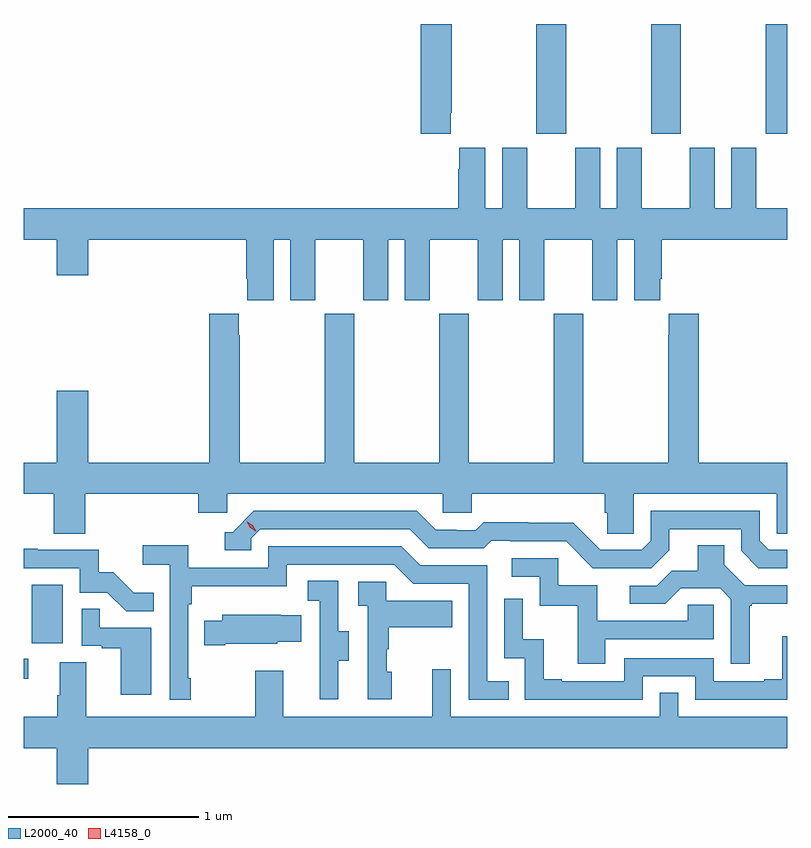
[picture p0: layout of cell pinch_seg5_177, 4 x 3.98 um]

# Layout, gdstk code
import gdstk
lib = gdstk.Library(unit=1e-6, precision=1e-09)
def R(c, l, rs):  # rectangles x0, y0, x1, y1
    for r in rs: c.add(gdstk.rectangle(r[:2], r[2:], *l))
def P(c, l, *ps):  # polygons
    for p in ps: c.add(gdstk.Polygon(p, *l))
L2000_40 = (2000, 40)
L4158_0 = (4158, 0)

pinch_seg5_177 = lib.new_cell('pinch_seg5_177')
R(pinch_seg5_177, L2000_40, [(1141.857,875.772,1141.882,875.877), (1141.898,875.958,1142.062,876.265), (1144.543,878.625,1144.698,879.201), (1145.143,878.625,1145.298,879.201), (1145.743,878.625,1145.857,879.201)])
P(pinch_seg5_177, L2000_40, [(1144.093,878.737),(1144.098,878.737),(1144.098,879.201),(1143.938,879.201),(1143.938,878.625),(1144.093,878.625)],
  [(1143.166,878.072),(1143.254,878.072),(1143.254,877.755),(1143.385,877.755),(1143.385,878.072),(1143.635,878.072),(1143.635,877.755),(1143.766,877.755),(1143.766,878.072),(1143.854,878.072),(1143.854,877.755),(1143.985,877.755),(1143.985,878.072),(1144.235,878.072),(1144.235,877.755),(1144.366,877.755),(1144.366,878.072),(1144.454,878.072),(1144.454,877.755),(1144.585,877.755),(1144.585,878.072),(1144.835,878.072),(1144.835,877.755),(1144.966,877.755),(1144.966,878.072),(1145.054,878.072),(1145.054,877.755),(1145.191,877.755),(1145.191,877.867),(1145.198,877.867),(1145.198,878.072),(1145.857,878.072),(1145.857,878.236),(1145.695,878.236),(1145.695,878.554),(1145.564,878.554),(1145.564,878.236),(1145.476,878.236),(1145.476,878.554),(1145.345,878.554),(1145.345,878.236),(1145.095,878.236),(1145.095,878.554),(1144.964,878.554),(1144.964,878.236),(1144.876,878.236),(1144.876,878.554),(1144.745,878.554),(1144.745,878.236),(1144.495,878.236),(1144.495,878.554),(1144.364,878.554),(1144.364,878.236),(1144.276,878.236),(1144.276,878.554),(1144.139,878.554),(1144.139,878.441),(1144.133,878.441),(1144.133,878.236),(1141.857,878.236),(1141.857,878.072),(1142.03,878.072),(1142.03,877.884),(1142.194,877.884),(1142.194,878.072),(1143.023,878.072),(1143.023,877.867),(1143.029,877.867),(1143.029,877.755),(1143.166,877.755)],
  [(1142.18,876.74),(1142.771,876.74),(1142.771,876.642),(1142.922,876.642),(1142.922,876.74),(1144.053,876.74),(1144.053,876.642),(1144.203,876.642),(1144.203,876.74),(1144.901,876.74),(1144.901,876.642),(1144.915,876.642),(1144.915,876.532),(1145.052,876.532),(1145.052,876.74),(1145.802,876.74),(1145.802,876.532),(1145.857,876.532),(1145.857,876.904),(1145.393,876.904),(1145.393,877.684),(1145.237,877.684),(1145.237,877.571),(1145.233,877.571),(1145.233,876.904),(1144.788,876.904),(1144.788,877.684),(1144.633,877.684),(1144.633,876.904),(1144.188,876.904),(1144.188,877.684),(1144.033,877.684),(1144.033,876.904),(1143.588,876.904),(1143.588,877.684),(1143.433,877.684),(1143.433,876.904),(1142.988,876.904),(1142.988,877.571),(1142.983,877.571),(1142.983,877.684),(1142.828,877.684),(1142.828,876.904),(1142.194,876.904),(1142.194,877.279),(1142.03,877.279),(1142.03,876.904),(1141.857,876.904),(1141.857,876.74),(1142.015,876.74),(1142.015,876.532),(1142.18,876.532)],
  [(1145.239,876.445),(1145.239,876.555),(1145.616,876.555),(1145.616,876.441),(1145.706,876.351),(1145.857,876.351),(1145.857,876.447),(1145.76,876.447),(1145.712,876.495),(1145.712,876.651),(1145.142,876.651),(1145.142,876.495),(1145.094,876.447),(1144.878,876.447),(1144.736,876.589),(1144.5,876.589),(1144.5,876.592),(1144.267,876.592),(1144.225,876.549),(1144.122,876.549),(1144.122,876.552),(1144.015,876.552),(1143.916,876.651),(1143.063,876.651),(1142.952,876.54),(1142.909,876.54),(1142.909,876.444),(1143.048,876.444),(1143.048,876.507),(1143.096,876.555),(1143.879,876.555),(1143.978,876.456),(1144.267,876.456),(1144.306,876.495),(1144.405,876.495),(1144.405,876.492),(1144.698,876.492),(1144.839,876.351),(1145.145,876.351)],
  [(1142.731,875.773),(1142.718,875.773),(1142.718,876.161),(1142.738,876.161),(1142.738,876.257),(1143.234,876.257),(1143.234,876.369),(1143.798,876.369),(1143.897,876.27),(1144.188,876.27),(1144.188,875.661),(1144.397,875.661),(1144.397,875.757),(1144.284,875.757),(1144.284,876.366),(1143.934,876.366),(1143.835,876.465),(1143.138,876.465),(1143.138,876.354),(1142.72,876.354),(1142.72,876.47),(1142.481,876.47),(1142.481,876.368),(1142.622,876.368),(1142.622,875.661),(1142.731,875.661)],
  [(1145.659,876.153),(1145.671,876.153),(1145.671,876.164),(1145.857,876.164),(1145.857,876.261),(1145.634,876.261),(1145.527,876.368),(1145.527,876.47),(1145.387,876.47),(1145.387,876.338),(1145.252,876.338),(1145.172,876.258),(1145.031,876.258),(1145.031,876.165),(1145.218,876.165),(1145.299,876.246),(1145.505,876.246),(1145.562,876.189),(1145.562,875.85),(1145.659,875.85)],
  [(1142.537,876.223),(1142.433,876.223),(1142.326,876.33),(1142.25,876.33),(1142.25,876.447),(1141.931,876.447),(1141.931,876.452),(1141.857,876.452),(1141.857,876.351),(1142.151,876.351),(1142.151,876.222),(1142.295,876.222),(1142.393,876.124),(1142.537,876.124)],
  [(1144.903,875.979),(1145.472,875.979),(1145.472,876.159),(1145.335,876.159),(1145.335,876.075),(1144.861,876.075),(1144.861,876.261),(1144.656,876.261),(1144.656,876.402),(1144.413,876.402),(1144.413,876.306),(1144.56,876.306),(1144.56,876.153),(1144.759,876.153),(1144.759,875.85),(1144.903,875.85)],
  [(1143.505,875.866),(1143.559,875.866),(1143.559,876.021),(1143.504,876.021),(1143.504,876.284),(1143.345,876.284),(1143.345,876.181),(1143.408,876.181),(1143.408,875.877),(1143.407,875.877),(1143.407,875.664),(1143.505,875.664)],
  [(1143.784,875.808),(1143.759,875.808),(1143.759,875.927),(1143.769,875.927),(1143.769,876.041),(1144.103,876.041),(1144.103,876.181),(1143.756,876.181),(1143.756,876.279),(1143.609,876.279),(1143.609,876.155),(1143.66,876.155),(1143.66,875.664),(1143.784,875.664)],
  [(1145.1,875.784),(1145.376,875.784),(1145.376,875.661),(1145.857,875.661),(1145.857,875.995),(1145.831,875.995),(1145.831,875.77),(1145.735,875.77),(1145.735,875.757),(1145.472,875.757),(1145.472,875.88),(1145.004,875.88),(1145.004,875.757),(1144.675,875.757),(1144.675,875.77),(1144.58,875.77),(1144.58,875.978),(1144.47,875.978),(1144.47,876.19),(1144.374,876.19),(1144.374,875.88),(1144.482,875.88),(1144.482,875.661),(1145.1,875.661)],
  [(1142.524,876.039),(1142.255,876.039),(1142.255,876.137),(1142.16,876.137),(1142.16,875.943),(1142.267,875.943),(1142.267,875.931),(1142.366,875.931),(1142.366,875.688),(1142.524,875.688)],
  [(1142.914,875.954),(1143.186,875.954),(1143.186,875.966),(1143.311,875.966),(1143.311,876.103),(1143.203,876.103),(1143.203,876.106),(1142.897,876.106),(1142.897,876.076),(1142.803,876.076),(1142.803,875.947),(1142.914,875.947)],
  [(1142.194,875.408),(1145.857,875.408),(1145.857,875.572),(1145.286,875.572),(1145.286,875.699),(1145.19,875.699),(1145.19,875.572),(1144.095,875.572),(1144.095,875.821),(1143.998,875.821),(1143.998,875.572),(1143.217,875.572),(1143.217,875.812),(1143.07,875.812),(1143.07,875.572),(1142.185,875.572),(1142.185,875.858),(1142.045,875.858),(1142.045,875.684),(1142.033,875.684),(1142.033,875.572),(1141.857,875.572),(1141.857,875.408),(1142.03,875.408),(1142.03,875.22),(1142.194,875.22)])
P(pinch_seg5_177, L4158_0, [(1143.073,876.543),(1143.043,876.562),(1143.026,876.594),(1143.026,876.594),(1143.027,876.594),(1143.057,876.575),(1143.074,876.543),(1143.074,876.543)])

lib.write_gds('pinch_seg5_177.gds')
